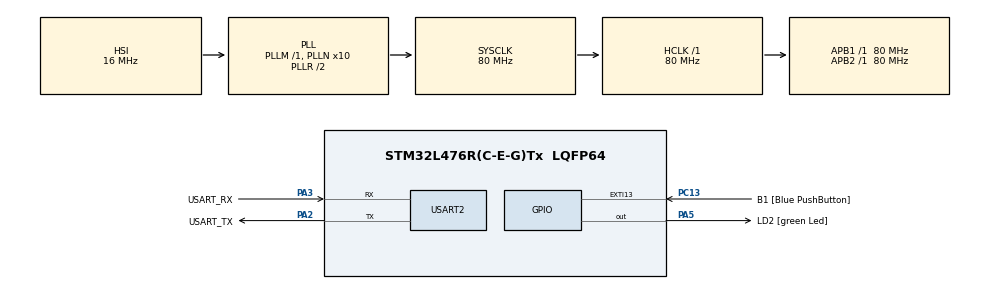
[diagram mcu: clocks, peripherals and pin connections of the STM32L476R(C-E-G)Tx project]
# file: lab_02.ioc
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Mcu.Family=STM32L4
Mcu.Name=STM32L476R(C-E-G)Tx
Mcu.Package=LQFP64
NVIC.PriorityGroup=NVIC_PRIORITYGROUP_4
PA13\ (JTMS-SWDIO).GPIO_Label=TMS
PA13\ (JTMS-SWDIO).Mode=Serial_Wire
PA13\ (JTMS-SWDIO).Signal=SYS_JTMS-SWDIO
PA14\ (JTCK-SWCLK).GPIO_Label=TCK
PA14\ (JTCK-SWCLK).Mode=Serial_Wire
PA14\ (JTCK-SWCLK).Signal=SYS_JTCK-SWCLK
PA2.GPIO_Label=USART_TX
PA2.GPIO_Mode=GPIO_MODE_AF_PP
PA2.GPIO_PuPd=GPIO_NOPULL
PA2.GPIO_Speed=GPIO_SPEED_FREQ_VERY_HIGH
PA2.Mode=Asynchronous
PA2.Signal=USART2_TX
PA3.GPIO_Label=USART_RX
PA3.GPIO_Mode=GPIO_MODE_AF_PP
PA3.GPIO_PuPd=GPIO_NOPULL
PA3.GPIO_Speed=GPIO_SPEED_FREQ_VERY_HIGH
PA3.Mode=Asynchronous
PA3.Signal=USART2_RX
PA5.GPIO_Label=LD2 [green Led]
PA5.GPIO_ModeDefaultOutputPP=GPIO_MODE_OUTPUT_PP
PA5.GPIO_PuPd=GPIO_NOPULL
PA5.GPIO_Speed=GPIO_SPEED_FREQ_LOW
PA5.Signal=GPIO_Output
PB3\ (JTDO-TRACESWO).GPIO_Label=SWO
PB3\ (JTDO-TRACESWO).Signal=SYS_JTDO-SWO
PC13.GPIO_Label=B1 [Blue PushButton]
PC13.GPIO_ModeDefaultEXTI=GPIO_MODE_IT_FALLING
PC13.GPIO_PuPd=GPIO_NOPULL
PC13.Signal=GPXTI13
PC14-OSC32_IN\ (PC14).Mode=LSE-External-Oscillator
PC14-OSC32_IN\ (PC14).Signal=RCC_OSC32_IN
PC15-OSC32_OUT\ (PC15).Mode=LSE-External-Oscillator
PC15-OSC32_OUT\ (PC15).Signal=RCC_OSC32_OUT
PH0-OSC_IN\ (PH0).Signal=RCC_OSC_IN
PH1-OSC_OUT\ (PH1).Signal=RCC_OSC_OUT
ProjectManager.HeapSize=0x200
ProjectManager.StackSize=0x400
ProjectManager.TargetToolchain=CMake
RCC.ADCFreq_Value=64000000
RCC.AHBFreq_Value=80000000
RCC.APB1Freq_Value=80000000
RCC.APB1TimFreq_Value=80000000
RCC.APB2Freq_Value=80000000
RCC.APB2TimFreq_Value=80000000
RCC.CortexFreq_Value=80000000
RCC.HCLKFreq_Value=80000000
RCC.HSE_VALUE=8000000
RCC.HSI_VALUE=16000000
RCC.MSI_VALUE=4000000
RCC.PLLN=10
RCC.PLLSourceVirtual=RCC_PLLSOURCE_HSI
RCC.PREFETCH_ENABLE=1
RCC.SYSCLKFreq_VALUE=80000000
RCC.SYSCLKSource=RCC_SYSCLKSOURCE_PLLCLK
RCC.USBFreq_Value=64000000
RCC.VCOOutputFreq_Value=160000000
USART2.VirtualMode-Asynchronous=VM_ASYNC
board=NUCLEO-L476RG

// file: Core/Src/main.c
/* USER CODE BEGIN Header */
/**
 ******************************************************************************
 * @file           : main.c
 * @brief          : Main program body
 ******************************************************************************
 * @attention
 *
 * Copyright (c) 2025 STMicroelectronics.
 * All rights reserved.
 *
 * This software is licensed under terms that can be found in the LICENSE file
 * in the root directory of this software component.
 * If no LICENSE file comes with this software, it is provided AS-IS.
 *
 ******************************************************************************
 */
/* USER CODE END Header */
#include "main.h"
#include "usart.h"
#include "gpio.h"

/* USER CODE BEGIN Includes */
#include <stdio.h>
#include <math.h>
#include <string.h>
/* USER CODE END Includes */

/* USER CODE BEGIN PD */
char msg[50];
uint32_t counter = 0;
double sinValue = 0;
uint16_t msb = 0, lsb = 0;
/* USER CODE END PD */

void SystemClock_Config(void);

/* USER CODE BEGIN 0 */

// ============= zadanie 8.5 ===================================
int _write(int file, char *ptr, int len)
{
  HAL_UART_Transmit(&huart2, (uint8_t *)ptr, len, 50);
  return len;
}

// ============= funkcja foo ===================================
void foo()
{
  int local_virable;
  ++lsb;
  if (lsb > 4)
  {
    lsb = 0;
    ++msb;
  }

  printf("%d; %d;\r\n", lsb, msb);
}

// ============= zadanie 8.6 ===================================
// int _write(int file, char *ptr, int len)
// {
//     for (int i = 0; i < len; i++)
//     {
//         ITM_SendChar(*ptr++);
//     }
//     return len;
// }

// ============= zadanie 1 =====================================
void zadanie_1()
{
  snprintf(msg, sizeof(msg), "Michał Markuzel, 275417, ctr:  %lu\r\n", counter++);

  HAL_UART_Transmit(&huart2, (uint8_t *)msg, strlen(msg), HAL_MAX_DELAY);

  HAL_Delay(1000);
}

// ============= zadanie 2 =====================================
void zadanie_2()
{
  sinValue = sin(counter * 0.2);

  snprintf(msg, sizeof(msg), "%d\r\n", (int)(sinValue * 100));

  HAL_UART_Transmit(&huart2, (uint8_t *)msg, strlen(msg), HAL_MAX_DELAY);

  counter += 2;

  HAL_Delay(200);
}

/* USER CODE END 0 */

int main(void)
{

  /* MCU Configuration--------------------------------------------------------*/

  /* Reset of all peripherals, Initializes the Flash interface and the Systick. */
  HAL_Init();

  /* Configure the system clock */
  SystemClock_Config();

  /* Initialize all configured peripherals */
  MX_GPIO_Init();
  MX_USART2_UART_Init();

  /* Infinite loop */
  /* USER CODE BEGIN WHILE */
  while (1)
  {
    // foo();

    // HAL_GPIO_TogglePin(LD2_GPIO_Port, LD2_Pin);

    // zadanie_1();

    zadanie_2();

    HAL_Delay(500);

    /* USER CODE END WHILE */

  }
}

void SystemClock_Config(void)
{
  RCC_OscInitTypeDef RCC_OscInitStruct = {0};
  RCC_ClkInitTypeDef RCC_ClkInitStruct = {0};

  /** Configure the main internal regulator output voltage
   */
  if (HAL_PWREx_ControlVoltageScaling(PWR_REGULATOR_VOLTAGE_SCALE1) != HAL_OK)
  {
    Error_Handler();
  }

  /** Initializes the RCC Oscillators according to the specified parameters
   * in the RCC_OscInitTypeDef structure.
   */
  RCC_OscInitStruct.OscillatorType = RCC_OSCILLATORTYPE_HSI;
  RCC_OscInitStruct.HSIState = RCC_HSI_ON;
  RCC_OscInitStruct.HSICalibrationValue = RCC_HSICALIBRATION_DEFAULT;
  RCC_OscInitStruct.PLL.PLLState = RCC_PLL_ON;
  RCC_OscInitStruct.PLL.PLLSource = RCC_PLLSOURCE_HSI;
  RCC_OscInitStruct.PLL.PLLM = 1;
  RCC_OscInitStruct.PLL.PLLN = 10;
  RCC_OscInitStruct.PLL.PLLP = RCC_PLLP_DIV7;
  RCC_OscInitStruct.PLL.PLLQ = RCC_PLLQ_DIV2;
  RCC_OscInitStruct.PLL.PLLR = RCC_PLLR_DIV2;
  if (HAL_RCC_OscConfig(&RCC_OscInitStruct) != HAL_OK)
  {
    Error_Handler();
  }

  /** Initializes the CPU, AHB and APB buses clocks
   */
  RCC_ClkInitStruct.ClockType = RCC_CLOCKTYPE_HCLK | RCC_CLOCKTYPE_SYSCLK | RCC_CLOCKTYPE_PCLK1 | RCC_CLOCKTYPE_PCLK2;
  RCC_ClkInitStruct.SYSCLKSource = RCC_SYSCLKSOURCE_PLLCLK;
  RCC_ClkInitStruct.AHBCLKDivider = RCC_SYSCLK_DIV1;
  RCC_ClkInitStruct.APB1CLKDivider = RCC_HCLK_DIV1;
  RCC_ClkInitStruct.APB2CLKDivider = RCC_HCLK_DIV1;

  if (HAL_RCC_ClockConfig(&RCC_ClkInitStruct, FLASH_LATENCY_4) != HAL_OK)
  {
    Error_Handler();
  }
}

void Error_Handler(void)
{
  __disable_irq();
  while (1)
  {
  }
}
